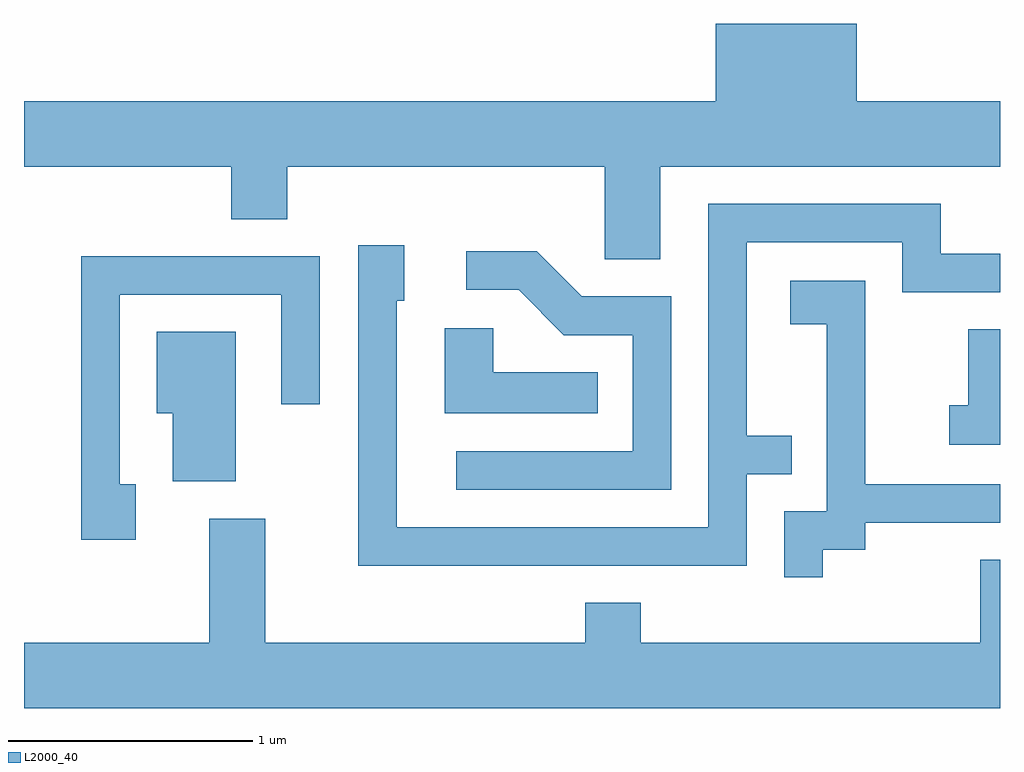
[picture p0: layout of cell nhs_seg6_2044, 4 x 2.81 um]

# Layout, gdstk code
import gdstk
lib = gdstk.Library(unit=1e-6, precision=1e-09)
def P(c, l, *ps):  # polygons
    for p in ps: c.add(gdstk.Polygon(p, *l))
L2000_40 = (2000, 40)

nhs_seg6_2044 = lib.new_cell('nhs_seg6_2044')
P(nhs_seg6_2044, L2000_40, [(250.219,1565.576),(251.611,1565.576),(251.611,1565.844),(251.024,1565.844),(251.024,1566.162),(250.446,1566.162),(250.446,1565.844),(247.611,1565.844),(247.611,1565.576),(248.461,1565.576),(248.461,1565.361),(248.689,1565.361),(248.689,1565.576),(249.991,1565.576),(249.991,1565.196),(250.219,1565.196)],
  [(250.574,1564.316),(250.758,1564.316),(250.758,1564.474),(250.574,1564.474),(250.574,1565.266),(251.211,1565.266),(251.211,1565.061),(251.611,1565.061),(251.611,1565.219),(251.369,1565.219),(251.369,1565.424),(250.416,1565.424),(250.416,1564.099),(249.139,1564.099),(249.139,1565.026),(249.169,1565.026),(249.169,1565.254),(248.981,1565.254),(248.981,1563.941),(250.574,1563.941)],
  [(250.264,1565.044),(249.897,1565.044),(249.712,1565.229),(249.423,1565.229),(249.423,1565.071),(249.639,1565.071),(249.824,1564.886),(250.106,1564.886),(250.106,1564.409),(249.383,1564.409),(249.383,1564.251),(250.264,1564.251)],
  [(248.069,1564.274),(248.004,1564.274),(248.004,1565.051),(248.666,1565.051),(248.666,1564.603),(248.824,1564.603),(248.824,1565.209),(247.846,1565.209),(247.846,1564.046),(248.069,1564.046)],
  [(250.884,1564.006),(251.059,1564.006),(251.059,1564.116),(251.611,1564.116),(251.611,1564.274),(251.059,1564.274),(251.059,1565.109),(250.751,1565.109),(250.751,1564.931),(250.901,1564.931),(250.901,1564.164),(250.726,1564.164),(250.726,1563.893),(250.884,1563.893)],
  [(249.963,1564.734),(249.534,1564.734),(249.534,1564.914),(249.336,1564.914),(249.336,1564.566),(249.963,1564.566)],
  [(251.611,1564.909),(251.481,1564.909),(251.481,1564.599),(251.403,1564.599),(251.403,1564.436),(251.611,1564.436)],
  [(248.479,1564.899),(248.156,1564.899),(248.156,1564.566),(248.221,1564.566),(248.221,1564.286),(248.479,1564.286)],
  [(251.611,1563.964),(251.531,1563.964),(251.531,1563.624),(250.139,1563.624),(250.139,1563.789),(249.911,1563.789),(249.911,1563.624),(248.599,1563.624),(248.599,1564.134),(248.371,1564.134),(248.371,1563.624),(247.611,1563.624),(247.611,1563.356),(251.611,1563.356)])

lib.write_gds('nhs_seg6_2044.gds')
